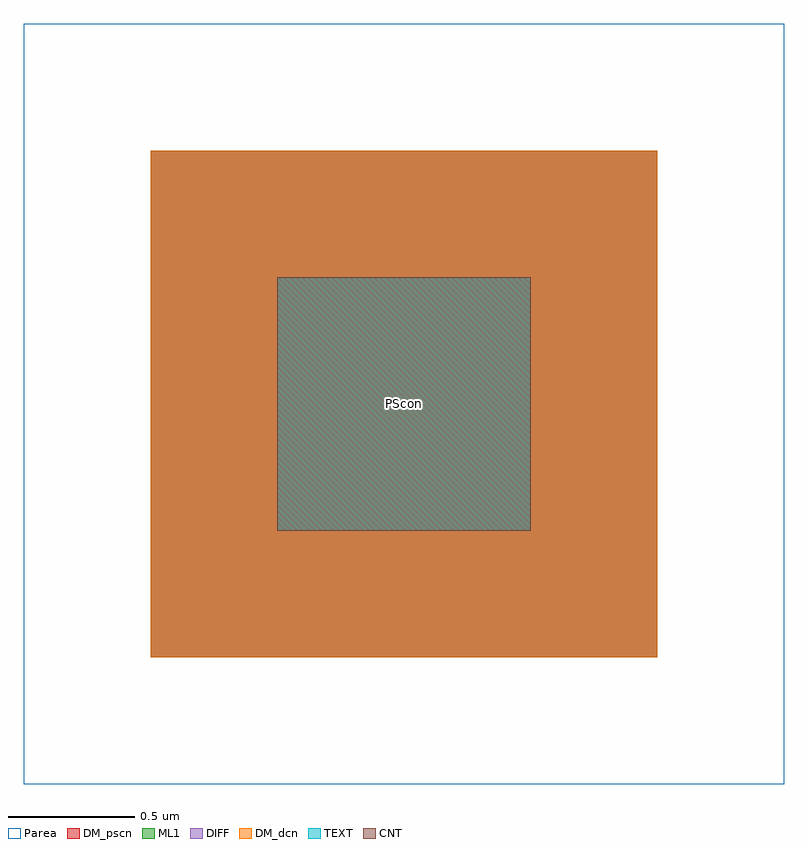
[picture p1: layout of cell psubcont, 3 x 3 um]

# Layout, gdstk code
import gdstk
lib = gdstk.Library(unit=1e-6, precision=1e-09)
def R(c, l, rs):  # rectangles x0, y0, x1, y1
    for r in rs: c.add(gdstk.rectangle(r[:2], r[2:], *l))
DIFF = (3, 0)
CNT = (7, 0)
ML1 = (8, 0)
TEXT = (13, 0)
Parea = (18, 0)
DM_dcn = (101, 0)
DM_pscn = (104, 0)

dcont = lib.new_cell('dcont')
R(dcont, DIFF, [(-1,-1,1,1)])
R(dcont, CNT, [(-0.5,-0.5,0.5,0.5)])
R(dcont, ML1, [(-1,-1,1,1)])
R(dcont, TEXT, [(-0.5,-0.5,0.5,0.5)])
R(dcont, DM_dcn, [(-1,-1,1,1)])
dcont.add(gdstk.Label('dcont', (0,0), layer=13, texttype=0))

psubcont = lib.new_cell('psubcont')
R(psubcont, Parea, [(-1.5,-1.5,1.5,1.5)])
R(psubcont, DM_pscn, [(-1,-1,1,1)])
psubcont.add(gdstk.Reference(dcont, (0,0)))
psubcont.add(gdstk.Label('PScon', (0,0), layer=13, texttype=0))

lib.write_gds('psubcont.gds')
